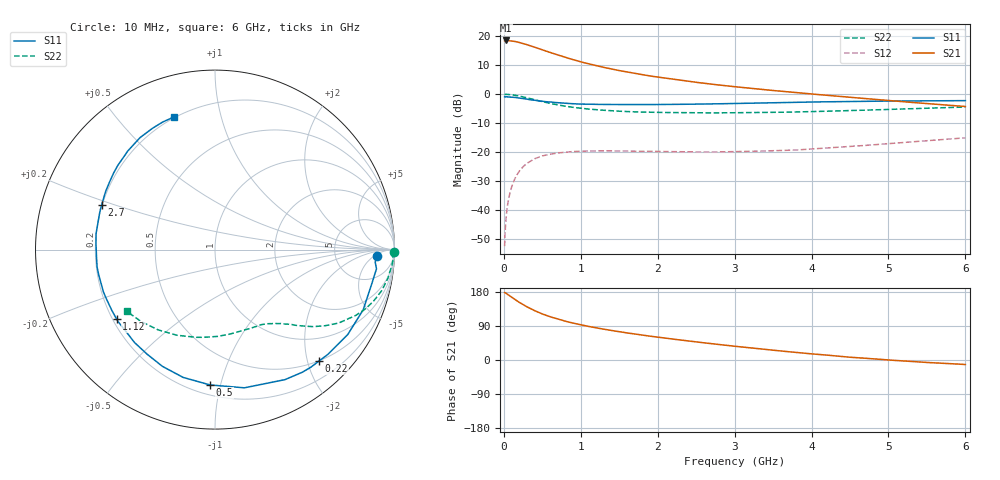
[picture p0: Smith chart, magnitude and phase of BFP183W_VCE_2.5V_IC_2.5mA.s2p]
! Infineon Technologies  Discrete & RF Semiconductors
! BFP183W
! VCE = 2.5 V,  IC =  2.5 mA
! Common Emitter S-Parameters:  Jan 2016
# GHz  S  MA  R  50
!  f  S11  S21  S12  S22
! GHz  MAG  ANG  MAG  ANG  MAG  ANG  MAG  ANG
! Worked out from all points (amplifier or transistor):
!   210 points, 10 MHz to 6 GHz, reference 50 ohm
!   highest |S21| = 18.5 dB at 30 MHz (marker M1)
!   |S21| within 3 dB of that: start of sweep to 474.3 MHz
!   unconditionally stable (mu >= 1): 2.226 GHz to end of sweep
!   at 185 MHz: K = 0.10, MSG = 22.5 dB, |S12| = -27.2 dB
!   at 1.52 GHz: K = 0.71, MSG = 13.8 dB, |S12| = -19.6 dB
!   at 6 GHz: K = 1.00, MAG = 5.0 dB, |S12| = -15.1 dB
!   S11 on the Smith chart (normalised r, x): 10 MHz: 17, -6; 220 MHz: 0.50, -2.21; 500 MHz: 0.27, -0.93; 1.12 GHz: 0.22, -0.30; 2.7 GHz: 0.20, +0.18; 6 GHz: 0.20, +0.72
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0.01  0.9011 -2.3  8.348 177.9  0.0024 91.5  0.9964 -0.9
0.03  0.9061 -6.8  8.419 175.8  0.0077 87.4  0.9943 -2.9
0.075  0.8895 -16.6  8.292 169.4  0.0187 79.2  0.9827 -7.1
0.15  0.878 -32.6  8.07 158.7  0.0365 71.8  0.9562 -13.9
0.22  0.8495 -46.9  7.644 149.9  0.0505 64.1  0.9166 -19.5
0.3  0.8227 -61.7  7.123 140.3  0.0642 56.4  0.8652 -25.1
0.32  0.8105 -64.8  6.974 138.4  0.0666 54.6  0.8518 -26.2
0.4  0.7873 -78.0  6.458 130.2  0.077 48.4  0.8013 -30.7
0.5  0.7545 -92.1  5.807 121.4  0.0863 42.0  0.7439 -34.8
0.6  0.7339 -104.0  5.236 114.1  0.0923 36.5  0.6938 -38.2
0.72  0.7084 -115.9  4.654 106.8  0.0975 31.7  0.646 -41.1
0.84  0.6891 -126.2  4.146 100.3  0.101 28.0  0.6084 -43.7
1.02  0.6729 -138.8  3.542 92.1  0.1039 23.4  0.5677 -46.9
1.12  0.6711 -144.8  3.289 88.0  0.1049 21.4  0.5507 -48.4
1.3  0.6648 -154.7  2.89 81.2  0.1057 18.8  0.5275 -51.2
1.6  0.6629 -167.8  2.414 71.4  0.1048 16.5  0.5012 -55.7
2.02  0.6639 177.3  1.952 59.8  0.1027 15.5  0.4845 -62.3
2.7  0.6788 158.6  1.487 43.1  0.1009 18.3  0.4757 -74.4
3.1  0.694 149.3  1.303 34.3  0.1024 21.1  0.4785 -82.3
4.1  0.7355 130.1  0.981 14.6  0.1157 29.3  0.5025 -104.5
5.1  0.7614 116.3  0.757 -1.3  0.1433 33.7  0.5519 -127.5
6  0.7733 107.3  0.613 -11.9  0.1766 33.3  0.5997 -145.0
